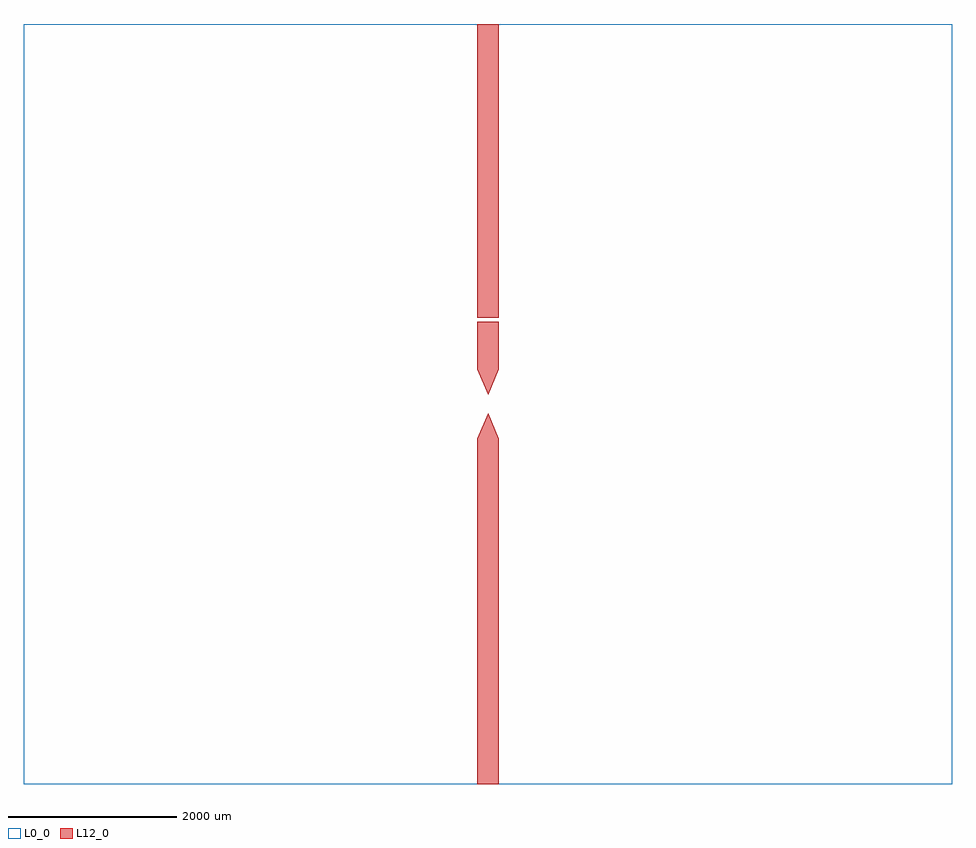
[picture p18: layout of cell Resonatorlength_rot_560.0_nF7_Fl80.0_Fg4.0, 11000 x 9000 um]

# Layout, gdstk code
import gdstk
lib = gdstk.Library(unit=1e-6, precision=1e-09)
def R(c, l, rs):  # rectangles x0, y0, x1, y1
    for r in rs: c.add(gdstk.rectangle(r[:2], r[2:], *l))
def P(c, l, *ps):  # polygons
    for p in ps: c.add(gdstk.Polygon(p, *l))
L0_0 = (0, 0)
L12_0 = (12, 0)

resonatorlength_rot_560_ = lib.new_cell('Resonatorlength_rot_560.0_nF7_Fl80.0_Fg4.0')
R(resonatorlength_rot_560_, L0_0, [(-5500,-4500,5500,4500)])
R(resonatorlength_rot_560_, L12_0, [(-125,-4500,125,-1056), (-125,-1056,-92.714,-976), (-52.429,-1056,-20.143,-976), (20.143,-1056,52.429,-976), (92.714,-1056,125,-976), (-88.714,-1052,-56.429,-972), (-16.143,-1052,16.143,-972), (56.429,-1052,88.714,-972), (-125,-972,125,-412), (-125,412,125,972), (-125,1022,125,4500)])
P(resonatorlength_rot_560_, L12_0, [(-125,-412),(125,-412),(0,-108.5)],
  [(-125,412),(125,412),(0,108.5)])

lib.write_gds('Resonatorlength_rot_560.0_nF7_Fl80.0_Fg4.0.gds')
